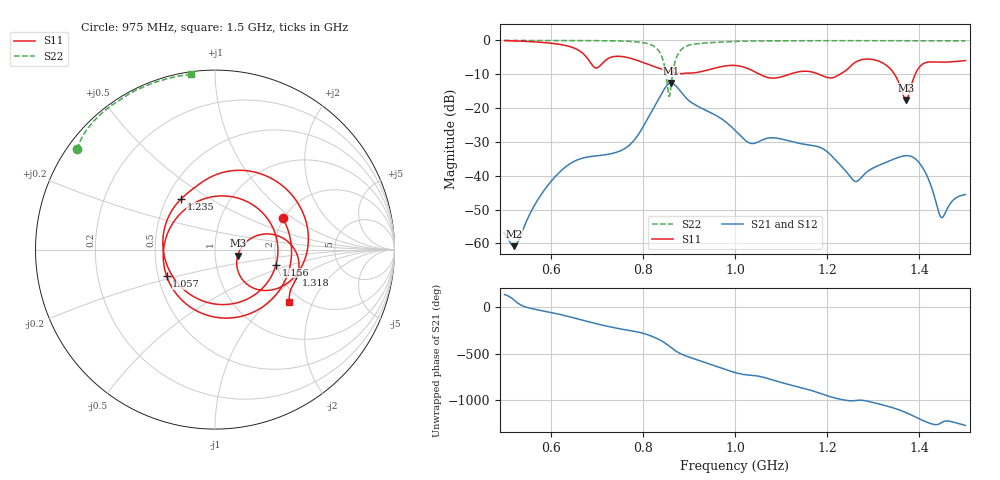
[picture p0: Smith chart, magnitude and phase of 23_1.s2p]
! TOUCHSTONE file generated by CST MICROWAVE STUDIO
! Date and time: Sat Nov 14 20:38:13 2020
! Project name: Scenario_1_Planar_Body_Tissue_Out_of_Line_v2.cst
! Parameters = {dy1=-34.6; L_HA=400; Ltissue=700; MT=2.54; Rad_Dielectric=30; Rad_Lower=7.3; Rad_Upper=30; Wtissue=700; a_HA=580; a_WG=246; b_HA=500; b_WG=121; c_HA=0; c_WG=187; d_feed=85; dx1=173; h_feed=15; h_lower=18; h_upper=40; hfat=3; hgap=25; hmuscle=50; hskin=1.5}
! Header version: 2018
! Port assignment regex: !\s*Touchstone port\s*([0-9]+)\s*=\s*(CST MWS port|CST DS port)\s*([0-9]+|Zmin|Zmax)\s*\(\"(.*)\"\)(\s*mode\s*([0-9]+))?.*
! Touchstone port assignment:
! Touchstone port 1 = CST MWS port 1 ("")
! Touchstone port 2 = CST MWS port 2 ("")
# GHz S DB R 50
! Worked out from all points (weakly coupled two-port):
!   1003 points, 500 MHz to 1.5 GHz, reference 50 ohm
!   highest |S21| = -12.59 dB at 861 MHz (marker M1); lowest = -60.8 dB at 520 MHz (marker M2)
!   lowest |S11| = -17.6 dB at 1.371 GHz (marker M3), VSWR 1.30, Z = 64.3 - j4.51 ohm
!   |S11| at or under -10 dB: 1.053 GHz to 1.118 GHz (64.77 MHz wide, 5.97 % of centre); 1.182 GHz to 1.227 GHz (45.21 MHz wide, 3.75 % of centre); 1.346 GHz to 1.391 GHz (44.89 MHz wide, 3.28 % of centre)
!   |S22| runs from -16.6 to 0.0 dB; largest |S21 - S12| = 3.5e-06
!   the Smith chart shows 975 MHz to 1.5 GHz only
!   S11 on the Smith chart (normalised r, x): 975 MHz: 1.97, +0.84; 1.057 GHz: 0.55, -0.18; 1.156 GHz: 1.98, -0.38; 1.235 GHz: 0.59, +0.38; 1.318 GHz: 2.43, -0.88; 1.5 GHz: 1.73, -1.35
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0.5  -0.04 -121.7  -56.86 132.1  -56.86 132.1  -0.01 151.2
0.52  -0.14 -127.6  -60.80 75.6  -60.80 75.6  -0.01 149.8
0.621  -1.19 -178.7  -38.71 -81.8  -38.71 -81.8  -0.03 142.5
0.667  -3.51 119.1  -34.86 -140.6  -34.86 -140.6  -0.04 138.4
0.694  -7.85 16.6  -34.19 -174.5  -34.19 -174.5  -0.06 135.5
0.716  -6.24 -98.0  -33.84 160.3  -33.84 160.3  -0.09 132.8
0.745  -4.67 -174.7  -32.95 130.4  -32.95 130.4  -0.15 128.4
0.784  -5.72 112.6  -29.01 96.2  -29.01 96.2  -0.39 119.1
0.834  -8.17 3.9  -17.32 14.0  -17.32 14.0  -2.97 82.3
0.861  -9.25 -67.5  -12.59 -74.2  -12.59 -74.2  -13.44 -101.2
0.89  -9.70 -144.8  -16.41 -158.5  -16.41 -158.5  -2.00 175.0
0.975  -7.62 25.2  -23.58 56.5  -23.58 56.5  -0.45 144.0
1  -7.39 -24.2  -26.55 17.5  -26.55 17.5  -0.29 140.5
1.057  -10.24 -151.0  -29.54 -27.3  -29.54 -27.3  -0.15 133.8
1.156  -9.11 -13.9  -30.80 -160.8  -30.80 -160.8  -0.10 125.0
1.167  -9.32 -37.5  -31.02 -176.2  -31.02 -176.2  -0.10 124.1
1.235  -9.38 123.8  -37.77 85.8  -37.77 85.8  -0.08 119.0
1.318  -6.48 -17.1  -36.57 34.6  -36.57 34.6  -0.09 112.7
1.334  -7.98 -33.7  -35.66 13.3  -35.66 13.3  -0.09 111.5
1.371  -17.64 -15.2  -34.06 -50.2  -34.06 -50.2  -0.09 108.7
1.448  -6.44 -25.9  -52.34 -158.3  -52.34 -158.3  -0.11 102.5
1.5  -5.95 -35.3  -45.53 171.9  -45.53 171.9  -0.12 97.9
